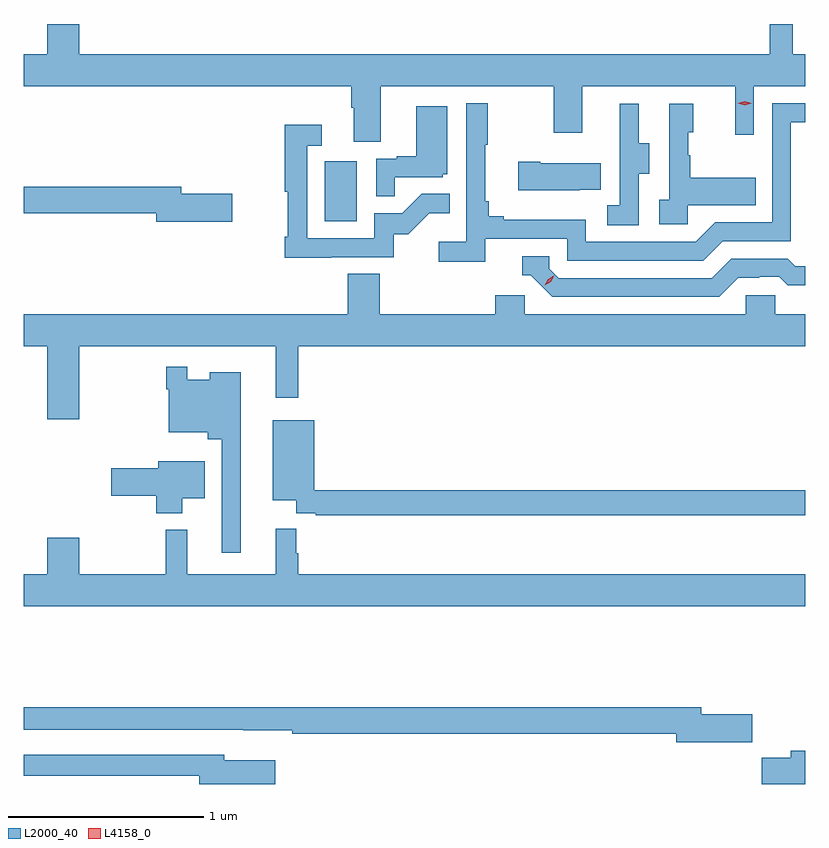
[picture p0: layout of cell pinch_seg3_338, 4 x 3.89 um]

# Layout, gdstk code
import gdstk
lib = gdstk.Library(unit=1e-6, precision=1e-09)
def R(c, l, rs):  # rectangles x0, y0, x1, y1
    for r in rs: c.add(gdstk.rectangle(r[:2], r[2:], *l))
def P(c, l, *ps):  # polygons
    for p in ps: c.add(gdstk.Polygon(p, *l))
L2000_40 = (2000, 40)
L4158_0 = (4158, 0)

pinch_seg3_338 = lib.new_cell('pinch_seg3_338')
R(pinch_seg3_338, L2000_40, [(969.626,722.868,969.79,723.175)])
P(pinch_seg3_338, L2000_40, [(969.913,723.56),(970.798,723.56),(970.798,723.321),(970.945,723.321),(970.945,723.56),(971.726,723.56),(971.726,723.312),(971.823,723.312),(971.823,723.56),(972.085,723.56),(972.085,723.724),(972.022,723.724),(972.022,723.878),(971.905,723.878),(971.905,723.724),(968.368,723.724),(968.368,723.878),(968.204,723.878),(968.204,723.724),(968.085,723.724),(968.085,723.56),(969.761,723.56),(969.761,723.448),(969.773,723.448),(969.773,723.274),(969.913,723.274)],
  [(970.448,722.778),(970.866,722.778),(970.866,722.667),(971.563,722.667),(971.662,722.766),(972.012,722.766),(972.012,723.375),(972.085,723.375),(972.085,723.471),(971.916,723.471),(971.916,722.862),(971.625,722.862),(971.526,722.763),(970.962,722.763),(970.962,722.875),(970.543,722.875),(970.543,722.894),(970.466,722.894),(970.466,722.971),(970.447,722.971),(970.447,723.259),(970.459,723.259),(970.459,723.472),(970.35,723.472),(970.35,722.764),(970.209,722.764),(970.209,722.662),(970.448,722.662)],
  [(971.484,722.951),(971.831,722.951),(971.831,723.091),(971.497,723.091),(971.497,723.206),(971.487,723.206),(971.487,723.324),(971.512,723.324),(971.512,723.469),(971.388,723.469),(971.388,722.978),(971.337,722.978),(971.337,722.853),(971.484,722.853)],
  [(971.232,723.112),(971.287,723.112),(971.287,723.267),(971.233,723.267),(971.233,723.469),(971.135,723.469),(971.135,723.255),(971.136,723.255),(971.136,722.951),(971.073,722.951),(971.073,722.848),(971.232,722.848)],
  [(969.983,723.093),(970.23,723.093),(970.23,723.108),(970.252,723.108),(970.252,723.457),(970.094,723.457),(970.094,723.202),(969.995,723.202),(969.995,723.189),(969.888,723.189),(969.888,722.995),(969.983,722.995)],
  [(969.659,722.685),(969.978,722.685),(969.978,722.802),(970.054,722.802),(970.161,722.909),(970.265,722.909),(970.265,723.008),(970.121,723.008),(970.023,722.91),(969.879,722.91),(969.879,722.781),(969.537,722.781),(969.537,723.255),(969.61,723.255),(969.61,723.361),(969.421,723.361),(969.421,723.018),(969.436,723.018),(969.436,722.788),(969.421,722.788),(969.421,722.68),(969.659,722.68)],
  [(970.931,723.029),(971.039,723.029),(971.039,723.166),(970.729,723.166),(970.729,723.174),(970.617,723.174),(970.617,723.026),(970.931,723.026)],
  [(969.151,723.008),(968.89,723.008),(968.89,723.044),(968.085,723.044),(968.085,722.908),(968.762,722.908),(968.762,722.866),(969.151,722.866)],
  [(971.743,722.58),(971.85,722.58),(971.85,722.583),(971.953,722.583),(971.995,722.541),(972.085,722.541),(972.085,722.637),(972.034,722.637),(971.995,722.676),(971.706,722.676),(971.607,722.577),(970.824,722.577),(970.776,722.625),(970.776,722.688),(970.637,722.688),(970.637,722.592),(970.68,722.592),(970.791,722.481),(971.644,722.481)],
  [(968.368,722.228),(969.374,722.228),(969.374,721.965),(969.491,721.965),(969.491,722.228),(972.085,722.228),(972.085,722.392),(971.931,722.392),(971.931,722.49),(971.781,722.49),(971.781,722.392),(970.65,722.392),(970.65,722.49),(970.499,722.49),(970.499,722.392),(969.908,722.392),(969.908,722.6),(969.743,722.6),(969.743,722.392),(968.085,722.392),(968.085,722.228),(968.204,722.228),(968.204,721.854),(968.368,721.854)],
  [(969.196,722.095),(969.038,722.095),(969.038,722.056),(968.922,722.056),(968.922,722.122),(968.814,722.122),(968.814,722.009),(968.826,722.009),(968.826,721.787),(969.026,721.787),(969.026,721.751),(969.099,721.751),(969.099,721.17),(969.196,721.17)],
  [(972.085,721.49),(969.573,721.49),(969.573,721.849),(969.359,721.849),(969.359,721.439),(969.479,721.439),(969.479,721.374),(969.58,721.374),(969.58,721.362),(972.085,721.362)],
  [(968.896,721.451),(969.01,721.451),(969.01,721.639),(968.774,721.639),(968.774,721.604),(968.532,721.604),(968.532,721.462),(968.762,721.462),(968.762,721.373),(968.896,721.373)],
  [(972.085,721.06),(969.491,721.06),(969.491,721.169),(969.479,721.169),(969.479,721.293),(969.374,721.293),(969.374,721.06),(968.921,721.06),(968.921,721.288),(968.811,721.288),(968.811,721.06),(968.368,721.06),(968.368,721.249),(968.204,721.249),(968.204,721.06),(968.085,721.06),(968.085,720.896),(972.085,720.896)],
  [(971.815,720.344),(971.554,720.344),(971.554,720.38),(968.085,720.38),(968.085,720.264),(969.208,720.264),(969.208,720.263),(969.46,720.263),(969.46,720.244),(971.426,720.244),(971.426,720.202),(971.815,720.202)],
  [(972.085,720.158),(972.011,720.158),(972.011,720.122),(971.862,720.122),(971.862,719.987),(972.085,719.987)],
  [(969.373,720.109),(969.112,720.109),(969.112,720.138),(968.085,720.138),(968.085,720.03),(968.984,720.03),(968.984,719.987),(969.373,719.987)])
P(pinch_seg3_338, L4158_0, [(971.776,723.462),(971.74,723.471),(971.74,723.472),(971.74,723.472),(971.776,723.482),(971.812,723.473),(971.812,723.473),(971.812,723.473)],
  [(970.752,722.54),(970.752,722.54),(970.769,722.572),(970.8,722.591),(970.8,722.591),(970.8,722.591),(970.783,722.559),(970.752,722.54)])

lib.write_gds('pinch_seg3_338.gds')
